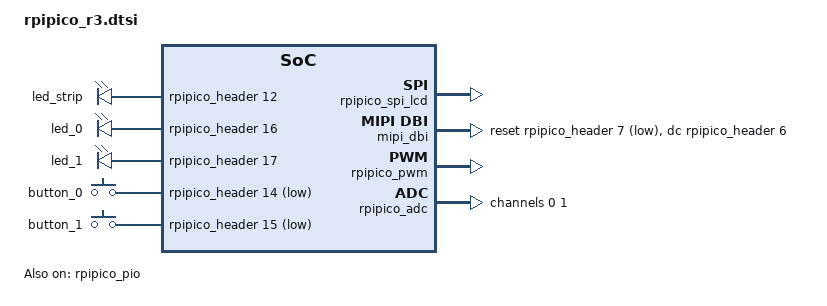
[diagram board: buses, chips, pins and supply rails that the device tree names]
/*
 * Copyright (c) 2024 TiaC Systems
 * SPDX-License-Identifier: Apache-2.0
 */

#include "rpipico_r3-connect.dtsi"
#include "rpipico_r3-tweaks.dtsi"

#include "st7796s_480x320.dtsi"
#include "st7796s_rgb565.dtsi"
#include "gt911_320x480.dtsi"
#include "ws2812.dtsi"

#include <zephyr/dt-bindings/gpio/gpio.h>
#include <zephyr/dt-bindings/pwm/pwm.h>
#include <zephyr/dt-bindings/adc/adc.h>

&rpipico_spi_lcd {
	status = "okay";
	cs-gpios = <&rpipico_header 5 GPIO_ACTIVE_LOW>;		/* GP5 */
};

&mipi_dbi {
	status = "okay";
	reset-gpios = <&rpipico_header 7 GPIO_ACTIVE_LOW>;	/* GP7 */
	dc-gpios = <&rpipico_header 6 GPIO_ACTIVE_HIGH>;	/* GP6 */
	spi-dev = <&rpipico_spi_lcd>;
	#address-cells = <1>;
	#size-cells = <0>;
};

&lcd_panel {
	status = "okay";
};

&lvgl_pointer {
	//invert-x;
	invert-y;
	swap-xy;
};

&tsc_panel {
	status = "okay";
	irq-gpios = <&rpipico_header 11 GPIO_ACTIVE_HIGH>;	/* GP11 */
	reset-gpios = <&rpipico_header 10 GPIO_ACTIVE_LOW>;	/* GP10 */
};

&led_strip {
	status = "okay";
	gpios = <&rpipico_header 12 GPIO_ACTIVE_HIGH>;		/* GP12 */
};

&pio_led_strip {
	status = "okay";
};

&rpipico_pio {
	status = "okay";
};

&rpipico_pwm {
	status = "okay";
	divider-frac-0 = <15>;
	divider-int-0 = <255>;
	divider-frac-6 = <15>;
	divider-int-6 = <255>;
};

&pwm_buzzer_0 {							/* GP13:PWM6CHB */
	pwms = <&pwm 13 PWM_HZ(880) PWM_POLARITY_NORMAL>;
};

&pwm_led_0 {							/* GP16:PWM0A */
	pwms = <&rpipico_pwm 0 PWM_MSEC(20) PWM_POLARITY_NORMAL>;
};

&pwm_led_1 {							/* GP17:PWM0B */
	pwms = <&rpipico_pwm 1 PWM_MSEC(20) PWM_POLARITY_NORMAL>;
};

&led_0 {							/* GP16 */
	gpios = <&rpipico_header 16 GPIO_ACTIVE_HIGH>;
};

&led_1 {							/* GP17 */
	gpios = <&rpipico_header 17 GPIO_ACTIVE_HIGH>;
};

&button_0 {							/* GP14 */
	gpios = <&rpipico_header 14 (GPIO_PULL_UP | GPIO_ACTIVE_LOW)>;
};

&button_1 {							/* GP15 */
	gpios = <&rpipico_header 15 (GPIO_PULL_UP | GPIO_ACTIVE_LOW)>;
};

&joystick_axis_x_keys {						/* X@ADC0 */
	io-channels = <&rpipico_adc 0>;
	keyup-threshold-mv = <1850>;
};

&joystick_axis_x_key_0 {
	press-thresholds-mv = <850>;				/* X@LEFT */
};

&joystick_axis_x_key_1 {
	press-thresholds-mv = <2180>;				/* X@RIGHT */
};

&joystick_axis_y_keys {						/* Y@ADC1 */
	io-channels = <&rpipico_adc 1>;
	keyup-threshold-mv = <1850>;
};

&joystick_axis_y_key_0 {
	press-thresholds-mv = <850>;				/* Y@DOWN */
};

&joystick_axis_y_key_1 {
	press-thresholds-mv = <2180>;				/* Y@UP */
};

&joystick_axis_x {						/* X@ADC0 */
	io-channels = <&rpipico_adc 0>;
	in-deadzone = <500>;
	in-min = <500>;
	in-max = <4000>;
};

&joystick_axis_y {						/* Y@ADC1 */
	io-channels = <&rpipico_adc 1>;
	in-deadzone = <500>;
	in-min = <500>;
	in-max = <4000>;
};

&rpipico_adc {
	status = "okay";

	/delete-node/ channel@0;
	channel@0 {						/* ADC0 */
		reg = <0>;
		zephyr,gain = "ADC_GAIN_1";
		zephyr,reference = "ADC_REF_INTERNAL";
		zephyr,acquisition-time = <ADC_ACQ_TIME_DEFAULT>;
		zephyr,resolution = <12>;
	};

	/delete-node/ channel@1;
	channel@1 {						/* ADC1 */
		reg = <1>;
		zephyr,gain = "ADC_GAIN_1";
		zephyr,reference = "ADC_REF_INTERNAL";
		zephyr,acquisition-time = <ADC_ACQ_TIME_DEFAULT>;
		zephyr,resolution = <12>;
	};
};
